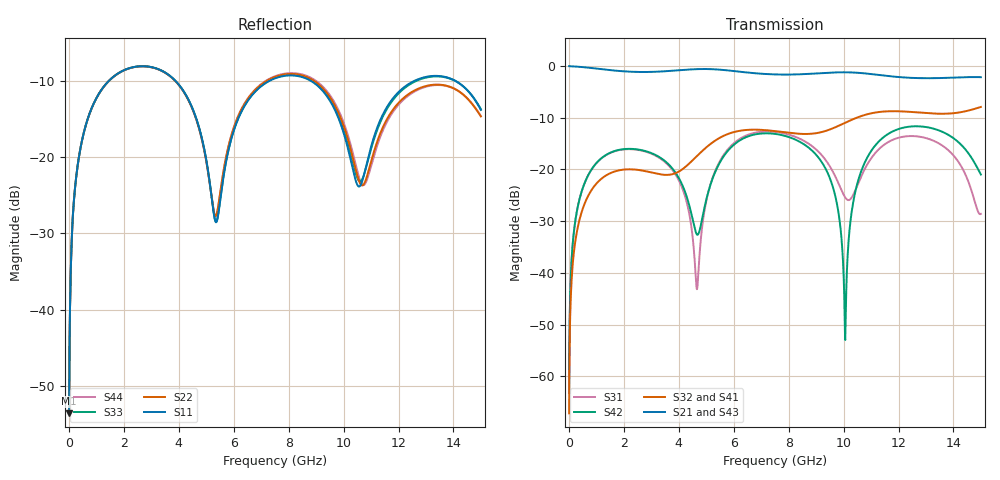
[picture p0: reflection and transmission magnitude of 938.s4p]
! Created with skrf 1.8.0 (http://scikit-rf.org).
# GHz S RI R 50.0
!freq ReS11 ImS11 ReS12 ImS12 ReS13 ImS13
! ReS14 ImS14
! ReS21 ImS21 ReS22 ImS22 ReS23 ImS23
! ReS24 ImS24
! ReS31 ImS31 ReS32 ImS32 ReS33 ImS33
! ReS34 ImS34
! ReS41 ImS41 ReS42 ImS42 ReS43 ImS43
! ReS44 ImS44
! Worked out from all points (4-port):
!   2499 points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, 5 MHz to 15 GHz, reference 50 ohm
!   strongest paths, dB at 5 MHz, 3.476 GHz, 7.19 GHz, 11.1 GHz, 15 GHz:
!     S21: 0.0, -1.0, -1.5, -1.6, -2.1
!     S43: 0.0, -1.0, -1.5, -1.6, -2.1
!     S32: -67.2, -21.0, -12.4, -9.0, -7.9
!     S41: -67.2, -21.1, -12.4, -9.0, -7.9
!     S42: -63.1, -18.3, -13.0, -15.7, -21.0
!     S31: -63.1, -18.5, -12.6, -17.2, -28.6
!   lowest |S11| = -53.5 dB at 5 MHz (marker M1), VSWR 1.00, Z = 50.2 + j0.128 ohm
!   |S11| at or under -10 dB: start of sweep to 1.462 GHz; 3.867 GHz to 7.318 GHz (3.452 GHz wide, 61.7 % of centre); 8.79 GHz to 12.6 GHz (3.806 GHz wide, 35.6 % of centre) (the widest 3 of 4)
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0.005  0.00168 0.00127  0.9983 -0.00327  8.53e-05 0.000691  -8.28e-05 -0.00043
       0.9983 -0.00327  0.00168 0.00127  -8.28e-05 -0.00043  8.54e-05 0.000691
       8.53e-05 0.000691  -8.28e-05 -0.00043  0.00168 0.00127  0.9983 -0.00327
       -8.28e-05 -0.00043  8.54e-05 0.000691  0.9983 -0.00327  0.00168 0.00127
1.619545  0.29 0.1681  0.5037 -0.7545  0.137 0.058  -0.0947 0.00142
          0.5037 -0.7545  0.2893 0.1686  -0.0947 0.00147  0.1389 0.0551
          0.137 0.058  -0.0947 0.00147  0.2901 0.1681  0.5037 -0.7545
          -0.0947 0.00142  0.1389 0.0551  0.5037 -0.7545  0.2894 0.1686
4.658191  0.0939 -0.1457  -0.8235 -0.4416  -0.00648 -0.00251  -0.0602 0.1205
          -0.8235 -0.4416  0.0962 -0.1417  -0.0597 0.1207  -0.0209 -0.0107
          -0.00648 -0.00251  -0.0597 0.1207  0.0942 -0.1459  -0.8235 -0.4414
          -0.0602 0.1205  -0.0209 -0.0107  -0.8235 -0.4414  0.0962 -0.1421
8.32847  0.3354 -0.0475  0.0101 0.8317  0.1768 -0.0988  0.2071 -0.0781
         0.0101 0.8317  0.3428 -0.0533  0.2072 -0.0794  0.1772 -0.0679
         0.1768 -0.0988  0.2072 -0.0794  0.3398 -0.0475  0.0108 0.8299
         0.2071 -0.0781  0.1772 -0.0679  0.0108 0.8299  0.3476 -0.0546
10.05419  0.0945 -0.0944  0.7384 0.4623  -0.0448 -0.0299  0.1431 -0.2436
          0.7384 0.4623  0.1004 -0.1118  0.1411 -0.245  0.0023 -0.000362
          -0.0448 -0.0299  0.1411 -0.245  0.101 -0.1006  0.7368 0.4624
          0.1431 -0.2436  0.0023 -0.000362  0.7368 0.4624  0.1034 -0.12
11.37349  0.1395 0.1147  0.7923 -0.1927  0.0723 0.1483  -0.1208 -0.3408
          0.7923 -0.1927  0.1204 0.0865  -0.1237 -0.3399  0.144 0.1339
          0.0723 0.1483  -0.1237 -0.3399  0.1399 0.1051  0.7933 -0.1929
          -0.1208 -0.3408  0.144 0.1339  0.7933 -0.1929  0.1165 0.0794
15  0.169 -0.1129  -0.4918 -0.607  -0.0337 -0.0158  -0.3066 0.2612
    -0.4918 -0.607  0.1723 -0.066  -0.3033 0.2647  -0.0488 -0.0748
    -0.0337 -0.0158  -0.3033 0.2647  0.1703 -0.1153  -0.4953 -0.6035
    -0.3066 0.2612  -0.0488 -0.0748  -0.4953 -0.6035  0.1723 -0.0694
